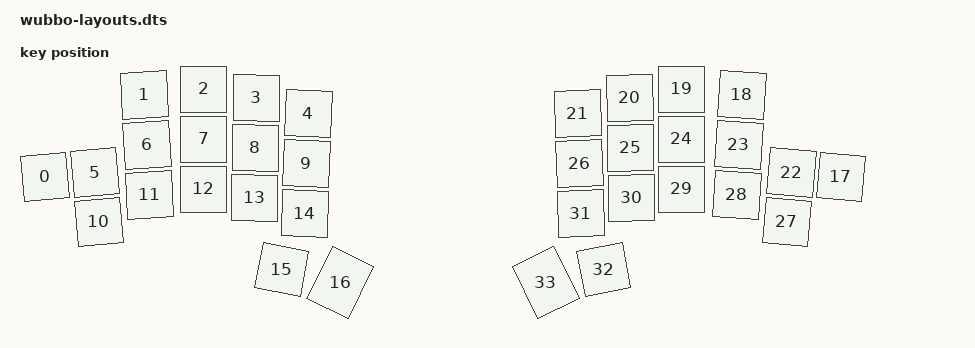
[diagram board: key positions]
#include <physical_layouts.dtsi>

/ {
    physical_layout0: physical_layout_0 {
        compatible = "zmk,physical-layout";
        display-name = "Wubbo Layout";
        transform = <&transform>;
        kscan = <&kscan>;

        keys  //                     w   h    x    y     rot    rx    ry
            = <&key_physical_attrs 100 100    0  176  (-500)    50   226>
            , <&key_physical_attrs 100 100  199   12  (-300)   249    62>
            , <&key_physical_attrs 100 100  318    0       0     0     0>
            , <&key_physical_attrs 100 100  423   18     100   473    68>
            , <&key_physical_attrs 100 100  527   49     200   577    99>
            , <&key_physical_attrs 100 100  100  167  (-500)   150   217>
            , <&key_physical_attrs 100 100  204  112  (-300)   254   162>
            , <&key_physical_attrs 100 100  318  100       0     0     0>
            , <&key_physical_attrs 100 100  421  118     100   471   168>
            , <&key_physical_attrs 100 100  523  149     200   573   199>
            , <&key_physical_attrs 100 100  108  266  (-500)   158   316>
            , <&key_physical_attrs 100 100  209  212  (-300)   259   262>
            , <&key_physical_attrs 100 100  318  200       0     0     0>
            , <&key_physical_attrs 100 100  419  218     100   469   268>
            , <&key_physical_attrs 100 100  520  249     200   570   299>
            , <&key_physical_attrs 100 100  474  361    1100   524   411>
            , <&key_physical_attrs 100 125  596  376    2600   646   426>
            , <&key_physical_attrs 100 100 1592  176     500  1642   226>
            , <&key_physical_attrs 100 100 1394   12     300  1444    62>
            , <&key_physical_attrs 100 100 1274    0       0     0     0>
            , <&key_physical_attrs 100 100 1170   18  (-100)  1220    68>
            , <&key_physical_attrs 100 100 1066   49  (-200)  1116    99>
            , <&key_physical_attrs 100 100 1493  167     500  1543   217>
            , <&key_physical_attrs 100 100 1388  112     300  1438   162>
            , <&key_physical_attrs 100 100 1274  100       0     0     0>
            , <&key_physical_attrs 100 100 1171  118  (-100)  1221   168>
            , <&key_physical_attrs 100 100 1069  149  (-200)  1119   199>
            , <&key_physical_attrs 100 100 1484  266     500  1534   316>
            , <&key_physical_attrs 100 100 1384  212     300  1434   262>
            , <&key_physical_attrs 100 100 1274  200       0     0     0>
            , <&key_physical_attrs 100 100 1173  218  (-100)  1223   268>
            , <&key_physical_attrs 100 100 1072  249  (-200)  1122   299>
            , <&key_physical_attrs 100 100 1118  361 (-1100)  1168   411>
            , <&key_physical_attrs 100 125  996  376 (-2600)  1046   426>
            ;
    };

    position_map {
        compatible = "zmk,physical-layout-position-map";

        complete;

        physical_layout0 {
            physical-layout = <&physical_layout0>;
            positions = <>;
        };
    };
};
